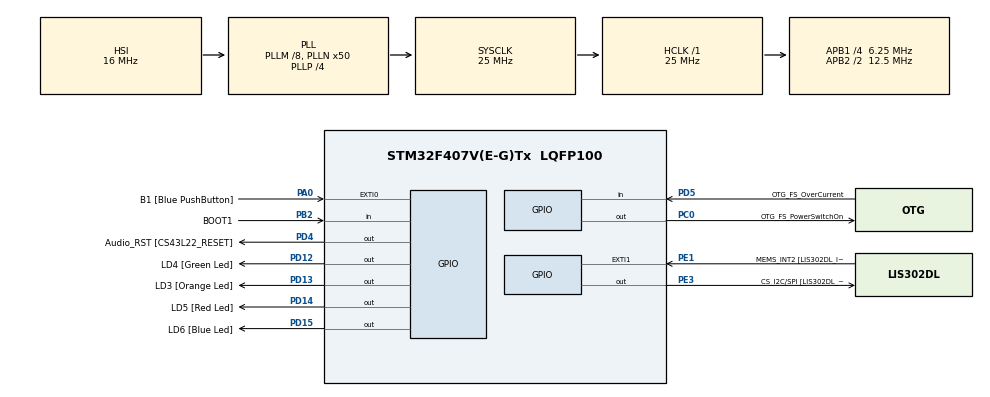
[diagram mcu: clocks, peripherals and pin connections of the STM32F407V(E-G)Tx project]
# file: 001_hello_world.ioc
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Mcu.Family=STM32F4
Mcu.Name=STM32F407V(E-G)Tx
Mcu.Package=LQFP100
NVIC.PriorityGroup=NVIC_PRIORITYGROUP_4
NVIC.TIM6_DAC_IRQn=true\:0\:0\:false\:false\:true\:false\:true\:true
NVIC.TimeBase=TIM6_DAC_IRQn
NVIC.TimeBaseIP=TIM6
PA0-WKUP.GPIO_Label=B1 [Blue PushButton]
PA0-WKUP.Signal=GPXTI0
PA10.GPIO_Label=OTG_FS_ID
PA10.GPIO_Mode=GPIO_MODE_AF_PP
PA10.GPIO_PuPd=GPIO_NOPULL
PA10.GPIO_Speed=GPIO_SPEED_FREQ_LOW
PA10.Signal=USB_OTG_FS_ID
PA11.GPIO_Label=OTG_FS_DM
PA11.GPIO_Mode=GPIO_MODE_AF_PP
PA11.GPIO_PuPd=GPIO_NOPULL
PA11.GPIO_Speed=GPIO_SPEED_FREQ_LOW
PA11.Signal=USB_OTG_FS_DM
PA12.GPIO_Label=OTG_FS_DP
PA12.GPIO_Mode=GPIO_MODE_AF_PP
PA12.GPIO_PuPd=GPIO_NOPULL
PA12.GPIO_Speed=GPIO_SPEED_FREQ_LOW
PA12.Signal=USB_OTG_FS_DP
PA13.GPIO_Label=SWDIO
PA13.Signal=SYS_JTMS-SWDIO
PA14.GPIO_Label=SWCLK
PA14.Signal=SYS_JTCK-SWCLK
PA4.GPIO_Label=I2S3_WS [CS43L22_LRCK]
PA4.GPIO_Mode=GPIO_MODE_AF_PP
PA4.GPIO_PuPd=GPIO_NOPULL
PA4.GPIO_Speed=GPIO_SPEED_FREQ_LOW
PA4.Signal=I2S3_WS
PA5.GPIO_Label=SPI1_SCK [LIS302DL_SCL/SPC]
PA5.GPIO_Mode=GPIO_MODE_AF_PP
PA5.GPIO_PuPd=GPIO_NOPULL
PA5.GPIO_Speed=GPIO_SPEED_FREQ_LOW
PA5.Signal=SPI1_SCK
PA6.GPIO_Label=SPI1_MISO [LIS302DL_SDO]
PA6.GPIO_Mode=GPIO_MODE_AF_PP
PA6.GPIO_PuPd=GPIO_NOPULL
PA6.GPIO_Speed=GPIO_SPEED_FREQ_LOW
PA6.Signal=SPI1_MISO
PA7.GPIO_Label=SPI1_MOSI [LIS302DL_SDA/SDI/SDO]
PA7.GPIO_Mode=GPIO_MODE_AF_PP
PA7.GPIO_PuPd=GPIO_NOPULL
PA7.GPIO_Speed=GPIO_SPEED_FREQ_LOW
PA7.Signal=SPI1_MOSI
PA9.GPIO_Label=VBUS_FS
PA9.GPIO_Mode=GPIO_MODE_INPUT
PA9.GPIO_PuPd=GPIO_NOPULL
PA9.Signal=USB_OTG_FS_VBUS
PB10.GPIO_Label=CLK_IN [MP45DT02_CLK]
PB10.GPIO_Mode=GPIO_MODE_AF_PP
PB10.GPIO_PuPd=GPIO_NOPULL
PB10.GPIO_Speed=GPIO_SPEED_FREQ_LOW
PB10.Signal=I2S2_CK
PB2.GPIO_Label=BOOT1
PB2.GPIO_Mode=GPIO_MODE_INPUT
PB2.GPIO_PuPd=GPIO_NOPULL
PB2.Signal=GPIO_Input
PB3.GPIO_Label=SWO
PB3.Signal=SYS_JTDO-SWO
PB6.GPIO_Label=Audio_SCL [CS43L22_SCL]
PB6.GPIO_Mode=GPIO_MODE_AF_OD
PB6.GPIO_PuPd=GPIO_NOPULL
PB6.GPIO_Speed=GPIO_SPEED_FREQ_LOW
PB6.Signal=I2C1_SCL
PB9.GPIO_Label=Audio_SDA [CS43L22_SDA]
PB9.GPIO_Mode=GPIO_MODE_AF_OD
PB9.GPIO_PuPd=GPIO_NOPULL
PB9.GPIO_Speed=GPIO_SPEED_FREQ_LOW
PB9.Signal=I2C1_SDA
PC0.GPIO_Label=OTG_FS_PowerSwitchOn
PC0.GPIO_PuPd=GPIO_NOPULL
PC0.GPIO_Speed=GPIO_SPEED_FREQ_LOW
PC0.PinState=GPIO_PIN_SET
PC0.Signal=GPIO_Output
PC10.GPIO_Label=I2S3_SCK [CS43L22_SCLK]
PC10.GPIO_Mode=GPIO_MODE_AF_PP
PC10.GPIO_PuPd=GPIO_NOPULL
PC10.GPIO_Speed=GPIO_SPEED_FREQ_LOW
PC10.Signal=I2S3_CK
PC12.GPIO_Label=I2S3_SD [CS43L22_SDIN]
PC12.GPIO_Mode=GPIO_MODE_AF_PP
PC12.GPIO_PuPd=GPIO_NOPULL
PC12.GPIO_Speed=GPIO_SPEED_FREQ_LOW
PC12.Signal=I2S3_SD
PC14-OSC32_IN.GPIO_Label=PC14-OSC32_IN
PC14-OSC32_IN.Signal=RCC_OSC32_IN
PC15-OSC32_OUT.GPIO_Label=PC15-OSC32_OUT
PC15-OSC32_OUT.Signal=RCC_OSC32_OUT
PC3.GPIO_Label=PDM_OUT [MP45DT02_DOUT]
PC3.GPIO_Mode=GPIO_MODE_AF_PP
PC3.GPIO_PuPd=GPIO_NOPULL
PC3.GPIO_Speed=GPIO_SPEED_FREQ_LOW
PC3.Signal=I2S2_SD
PC7.GPIO_Label=I2S3_MCK [CS43L22_MCLK]
PC7.GPIO_Mode=GPIO_MODE_AF_PP
PC7.GPIO_PuPd=GPIO_NOPULL
PC7.GPIO_Speed=GPIO_SPEED_FREQ_LOW
PC7.Signal=I2S3_MCK
PD12.GPIO_Label=LD4 [Green Led]
PD12.GPIO_PuPd=GPIO_NOPULL
PD12.GPIO_Speed=GPIO_SPEED_FREQ_LOW
PD12.Signal=GPIO_Output
PD13.GPIO_Label=LD3 [Orange Led]
PD13.GPIO_PuPd=GPIO_NOPULL
PD13.GPIO_Speed=GPIO_SPEED_FREQ_LOW
PD13.Signal=GPIO_Output
PD14.GPIO_Label=LD5 [Red Led]
PD14.GPIO_PuPd=GPIO_NOPULL
PD14.GPIO_Speed=GPIO_SPEED_FREQ_LOW
PD14.Signal=GPIO_Output
PD15.GPIO_Label=LD6 [Blue Led]
PD15.GPIO_PuPd=GPIO_NOPULL
PD15.GPIO_Speed=GPIO_SPEED_FREQ_LOW
PD15.Signal=GPIO_Output
PD4.GPIO_Label=Audio_RST [CS43L22_RESET]
PD4.GPIO_PuPd=GPIO_NOPULL
PD4.GPIO_Speed=GPIO_SPEED_FREQ_LOW
PD4.Signal=GPIO_Output
PD5.GPIO_Label=OTG_FS_OverCurrent
PD5.GPIO_Mode=GPIO_MODE_INPUT
PD5.GPIO_PuPd=GPIO_NOPULL
PD5.Signal=GPIO_Input
PE1.GPIO_Label=MEMS_INT2 [LIS302DL_INT2]
PE1.GPIO_ModeDefaultEXTI=GPIO_MODE_EVT_RISING
PE1.GPIO_PuPd=GPIO_NOPULL
PE1.Signal=GPXTI1
PE3.GPIO_Label=CS_I2C/SPI [LIS302DL_CS_I2C/SPI]
PE3.GPIO_PuPd=GPIO_NOPULL
PE3.GPIO_Speed=GPIO_SPEED_FREQ_LOW
PE3.Signal=GPIO_Output
PH0-OSC_IN.GPIO_Label=PH0-OSC_IN
PH0-OSC_IN.Signal=RCC_OSC_IN
PH1-OSC_OUT.GPIO_Label=PH1-OSC_OUT
PH1-OSC_OUT.Signal=RCC_OSC_OUT
ProjectManager.HeapSize=0x200
ProjectManager.StackSize=0x400
ProjectManager.TargetToolchain=STM32CubeIDE
RCC.48MHZClocksFreq_Value=14285714.285714285
RCC.AHBFreq_Value=25000000
RCC.APB1CLKDivider=RCC_HCLK_DIV4
RCC.APB1Freq_Value=6250000
RCC.APB1TimFreq_Value=12500000
RCC.APB2CLKDivider=RCC_HCLK_DIV2
RCC.APB2Freq_Value=12500000
RCC.APB2TimFreq_Value=25000000
RCC.CortexFreq_Value=25000000
RCC.HCLKFreq_Value=25000000
RCC.HSE_VALUE=8000000
RCC.HSI_VALUE=16000000
RCC.LSE_VALUE=32768
RCC.PLLM=8
RCC.PLLN=50
RCC.PLLP=RCC_PLLP_DIV4
RCC.PLLQ=7
RCC.SYSCLKFreq_VALUE=25000000
RCC.SYSCLKSource=RCC_SYSCLKSOURCE_PLLCLK
RCC.VCOOutputFreq_Value=100000000
VP_SYS_VS_tim6.Mode=TIM6
board=STM32F407G-DISC1

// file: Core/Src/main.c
/* USER CODE BEGIN Header */
/**
  ******************************************************************************
  * @file           : main.c
  * @brief          : Main program body
  ******************************************************************************
  * @attention
  *
  * Copyright (c) 2024 STMicroelectronics.
  * All rights reserved.
  *
  * This software is licensed under terms that can be found in the LICENSE file
  * in the root directory of this software component.
  * If no LICENSE file comes with this software, it is provided AS-IS.
  *
  ******************************************************************************
  */
/* USER CODE END Header */
#include "main.h"

/* USER CODE BEGIN Includes */
#include <stdio.h>
#include "FreeRTOS.h"
#include "task.h"
/* USER CODE END Includes */

void SystemClock_Config(void);
static void MX_GPIO_Init(void);
/* USER CODE BEGIN PFP */
static void task1_Handler(void *parameters);
static void task2_Handler(void *parameters);
/* USER CODE END PFP */

int main(void)
{
  /* USER CODE BEGIN 1 */
	TaskHandle_t task1_handle = NULL;
	TaskHandle_t task2_handle = NULL;

	BaseType_t taskCreate_status = 0;
  /* USER CODE END 1 */

  /* MCU Configuration--------------------------------------------------------*/

  /* Reset of all peripherals, Initializes the Flash interface and the Systick. */
  HAL_Init();

  /* Configure the system clock */
  SystemClock_Config();

  /* Initialize all configured peripherals */
  MX_GPIO_Init();
  /* USER CODE BEGIN 2 */
  taskCreate_status = xTaskCreate(task1_Handler,
		  	  "task-1",
			  200,
			  "Hello world from task-1",
			  2,
			  &task1_handle);
  configASSERT(taskCreate_status == pdPASS);
  //Now the task is created and added into the ready list. Now we have to invoke the scheduler.

  taskCreate_status = xTaskCreate(task2_Handler,
		  	  "task-2",
			  200,
			  "Hello world from task-2",
			  2,
			  &task2_handle);
  configASSERT(taskCreate_status == pdPASS);

  //start the FreeRTOS scheduler
  vTaskStartScheduler(); //never returns unless there's insufficient mem in heap to launch the scheduler

  /* USER CODE END 2 */

  /* Infinite loop */
  while (1)
  {

  }
}

void SystemClock_Config(void)
{
  RCC_OscInitTypeDef RCC_OscInitStruct = {0};
  RCC_ClkInitTypeDef RCC_ClkInitStruct = {0};

  /** Configure the main internal regulator output voltage
  */
  __HAL_RCC_PWR_CLK_ENABLE();
  __HAL_PWR_VOLTAGESCALING_CONFIG(PWR_REGULATOR_VOLTAGE_SCALE1);

  /** Initializes the RCC Oscillators according to the specified parameters
  * in the RCC_OscInitTypeDef structure.
  */
  RCC_OscInitStruct.OscillatorType = RCC_OSCILLATORTYPE_HSI;
  RCC_OscInitStruct.HSIState = RCC_HSI_ON;
  RCC_OscInitStruct.HSICalibrationValue = RCC_HSICALIBRATION_DEFAULT;
  RCC_OscInitStruct.PLL.PLLState = RCC_PLL_ON;
  RCC_OscInitStruct.PLL.PLLSource = RCC_PLLSOURCE_HSI;
  RCC_OscInitStruct.PLL.PLLM = 8;
  RCC_OscInitStruct.PLL.PLLN = 50;
  RCC_OscInitStruct.PLL.PLLP = RCC_PLLP_DIV4;
  RCC_OscInitStruct.PLL.PLLQ = 7;
  if (HAL_RCC_OscConfig(&RCC_OscInitStruct) != HAL_OK)
  {
    Error_Handler();
  }

  /** Initializes the CPU, AHB and APB buses clocks
  */
  RCC_ClkInitStruct.ClockType = RCC_CLOCKTYPE_HCLK|RCC_CLOCKTYPE_SYSCLK
                              |RCC_CLOCKTYPE_PCLK1|RCC_CLOCKTYPE_PCLK2;
  RCC_ClkInitStruct.SYSCLKSource = RCC_SYSCLKSOURCE_PLLCLK;
  RCC_ClkInitStruct.AHBCLKDivider = RCC_SYSCLK_DIV1;
  RCC_ClkInitStruct.APB1CLKDivider = RCC_HCLK_DIV4;
  RCC_ClkInitStruct.APB2CLKDivider = RCC_HCLK_DIV2;

  if (HAL_RCC_ClockConfig(&RCC_ClkInitStruct, FLASH_LATENCY_0) != HAL_OK)
  {
    Error_Handler();
  }
}

static void MX_GPIO_Init(void)
{
  GPIO_InitTypeDef GPIO_InitStruct = {0};

  /* GPIO Ports Clock Enable */
  __HAL_RCC_GPIOE_CLK_ENABLE();
  __HAL_RCC_GPIOC_CLK_ENABLE();
  __HAL_RCC_GPIOH_CLK_ENABLE();
  __HAL_RCC_GPIOA_CLK_ENABLE();
  __HAL_RCC_GPIOB_CLK_ENABLE();
  __HAL_RCC_GPIOD_CLK_ENABLE();

  /*Configure GPIO pin Output Level */
  HAL_GPIO_WritePin(CS_I2C_SPI_GPIO_Port, CS_I2C_SPI_Pin, GPIO_PIN_RESET);

  /*Configure GPIO pin Output Level */
  HAL_GPIO_WritePin(OTG_FS_PowerSwitchOn_GPIO_Port, OTG_FS_PowerSwitchOn_Pin, GPIO_PIN_SET);

  /*Configure GPIO pin Output Level */
  HAL_GPIO_WritePin(GPIOD, LD4_Pin|LD3_Pin|LD5_Pin|LD6_Pin
                          |Audio_RST_Pin, GPIO_PIN_RESET);

  /*Configure GPIO pin : CS_I2C_SPI_Pin */
  GPIO_InitStruct.Pin = CS_I2C_SPI_Pin;
  GPIO_InitStruct.Mode = GPIO_MODE_OUTPUT_PP;
  GPIO_InitStruct.Pull = GPIO_NOPULL;
  GPIO_InitStruct.Speed = GPIO_SPEED_FREQ_LOW;
  HAL_GPIO_Init(CS_I2C_SPI_GPIO_Port, &GPIO_InitStruct);

  /*Configure GPIO pin : OTG_FS_PowerSwitchOn_Pin */
  GPIO_InitStruct.Pin = OTG_FS_PowerSwitchOn_Pin;
  GPIO_InitStruct.Mode = GPIO_MODE_OUTPUT_PP;
  GPIO_InitStruct.Pull = GPIO_NOPULL;
  GPIO_InitStruct.Speed = GPIO_SPEED_FREQ_LOW;
  HAL_GPIO_Init(OTG_FS_PowerSwitchOn_GPIO_Port, &GPIO_InitStruct);

  /*Configure GPIO pin : PDM_OUT_Pin */
  GPIO_InitStruct.Pin = PDM_OUT_Pin;
  GPIO_InitStruct.Mode = GPIO_MODE_AF_PP;
  GPIO_InitStruct.Pull = GPIO_NOPULL;
  GPIO_InitStruct.Speed = GPIO_SPEED_FREQ_LOW;
  GPIO_InitStruct.Alternate = GPIO_AF5_SPI2;
  HAL_GPIO_Init(PDM_OUT_GPIO_Port, &GPIO_InitStruct);

  /*Configure GPIO pin : B1_Pin */
  GPIO_InitStruct.Pin = B1_Pin;
  GPIO_InitStruct.Mode = GPIO_MODE_IT_RISING;
  GPIO_InitStruct.Pull = GPIO_NOPULL;
  HAL_GPIO_Init(B1_GPIO_Port, &GPIO_InitStruct);

  /*Configure GPIO pin : I2S3_WS_Pin */
  GPIO_InitStruct.Pin = I2S3_WS_Pin;
  GPIO_InitStruct.Mode = GPIO_MODE_AF_PP;
  GPIO_InitStruct.Pull = GPIO_NOPULL;
  GPIO_InitStruct.Speed = GPIO_SPEED_FREQ_LOW;
  GPIO_InitStruct.Alternate = GPIO_AF6_SPI3;
  HAL_GPIO_Init(I2S3_WS_GPIO_Port, &GPIO_InitStruct);

  /*Configure GPIO pins : SPI1_SCK_Pin SPI1_MISO_Pin SPI1_MOSI_Pin */
  GPIO_InitStruct.Pin = SPI1_SCK_Pin|SPI1_MISO_Pin|SPI1_MOSI_Pin;
  GPIO_InitStruct.Mode = GPIO_MODE_AF_PP;
  GPIO_InitStruct.Pull = GPIO_NOPULL;
  GPIO_InitStruct.Speed = GPIO_SPEED_FREQ_LOW;
  GPIO_InitStruct.Alternate = GPIO_AF5_SPI1;
  HAL_GPIO_Init(GPIOA, &GPIO_InitStruct);

  /*Configure GPIO pin : BOOT1_Pin */
  GPIO_InitStruct.Pin = BOOT1_Pin;
  GPIO_InitStruct.Mode = GPIO_MODE_INPUT;
  GPIO_InitStruct.Pull = GPIO_NOPULL;
  HAL_GPIO_Init(BOOT1_GPIO_Port, &GPIO_InitStruct);

  /*Configure GPIO pin : CLK_IN_Pin */
  GPIO_InitStruct.Pin = CLK_IN_Pin;
  GPIO_InitStruct.Mode = GPIO_MODE_AF_PP;
  GPIO_InitStruct.Pull = GPIO_NOPULL;
  GPIO_InitStruct.Speed = GPIO_SPEED_FREQ_LOW;
  GPIO_InitStruct.Alternate = GPIO_AF5_SPI2;
  HAL_GPIO_Init(CLK_IN_GPIO_Port, &GPIO_InitStruct);

  /*Configure GPIO pins : LD4_Pin LD3_Pin LD5_Pin LD6_Pin
                           Audio_RST_Pin */
  GPIO_InitStruct.Pin = LD4_Pin|LD3_Pin|LD5_Pin|LD6_Pin
                          |Audio_RST_Pin;
  GPIO_InitStruct.Mode = GPIO_MODE_OUTPUT_PP;
  GPIO_InitStruct.Pull = GPIO_NOPULL;
  GPIO_InitStruct.Speed = GPIO_SPEED_FREQ_LOW;
  HAL_GPIO_Init(GPIOD, &GPIO_InitStruct);

  /*Configure GPIO pins : I2S3_MCK_Pin I2S3_SCK_Pin I2S3_SD_Pin */
  GPIO_InitStruct.Pin = I2S3_MCK_Pin|I2S3_SCK_Pin|I2S3_SD_Pin;
  GPIO_InitStruct.Mode = GPIO_MODE_AF_PP;
  GPIO_InitStruct.Pull = GPIO_NOPULL;
  GPIO_InitStruct.Speed = GPIO_SPEED_FREQ_LOW;
  GPIO_InitStruct.Alternate = GPIO_AF6_SPI3;
  HAL_GPIO_Init(GPIOC, &GPIO_InitStruct);

  /*Configure GPIO pin : VBUS_FS_Pin */
  GPIO_InitStruct.Pin = VBUS_FS_Pin;
  GPIO_InitStruct.Mode = GPIO_MODE_INPUT;
  GPIO_InitStruct.Pull = GPIO_NOPULL;
  HAL_GPIO_Init(VBUS_FS_GPIO_Port, &GPIO_InitStruct);

  /*Configure GPIO pins : OTG_FS_ID_Pin OTG_FS_DM_Pin OTG_FS_DP_Pin */
  GPIO_InitStruct.Pin = OTG_FS_ID_Pin|OTG_FS_DM_Pin|OTG_FS_DP_Pin;
  GPIO_InitStruct.Mode = GPIO_MODE_AF_PP;
  GPIO_InitStruct.Pull = GPIO_NOPULL;
  GPIO_InitStruct.Speed = GPIO_SPEED_FREQ_LOW;
  GPIO_InitStruct.Alternate = GPIO_AF10_OTG_FS;
  HAL_GPIO_Init(GPIOA, &GPIO_InitStruct);

  /*Configure GPIO pin : OTG_FS_OverCurrent_Pin */
  GPIO_InitStruct.Pin = OTG_FS_OverCurrent_Pin;
  GPIO_InitStruct.Mode = GPIO_MODE_INPUT;
  GPIO_InitStruct.Pull = GPIO_NOPULL;
  HAL_GPIO_Init(OTG_FS_OverCurrent_GPIO_Port, &GPIO_InitStruct);

  /*Configure GPIO pins : Audio_SCL_Pin Audio_SDA_Pin */
  GPIO_InitStruct.Pin = Audio_SCL_Pin|Audio_SDA_Pin;
  GPIO_InitStruct.Mode = GPIO_MODE_AF_OD;
  GPIO_InitStruct.Pull = GPIO_NOPULL;
  GPIO_InitStruct.Speed = GPIO_SPEED_FREQ_LOW;
  GPIO_InitStruct.Alternate = GPIO_AF4_I2C1;
  HAL_GPIO_Init(GPIOB, &GPIO_InitStruct);

  /*Configure GPIO pin : MEMS_INT2_Pin */
  GPIO_InitStruct.Pin = MEMS_INT2_Pin;
  GPIO_InitStruct.Mode = GPIO_MODE_EVT_RISING;
  GPIO_InitStruct.Pull = GPIO_NOPULL;
  HAL_GPIO_Init(MEMS_INT2_GPIO_Port, &GPIO_InitStruct);

}

/* USER CODE BEGIN 4 */
static void task1_Handler(void *parameters) { //scope of this fn is limites to this .c file
	while(1) {
		printf("%s\n", (char*)parameters ); //works over SWO pin
		taskYIELD();
	}
}

static void task2_Handler(void *parameters) { //scope of this fn is limites to this .c file
	while(1) {
		printf("%s\n", (char*)parameters );
		taskYIELD();
	}
}
/* USER CODE END 4 */

void HAL_TIM_PeriodElapsedCallback(TIM_HandleTypeDef *htim)
{
  if (htim->Instance == TIM6) {
    HAL_IncTick();
  }
}

void Error_Handler(void)
{
  __disable_irq();
  while (1)
  {
  }
}
